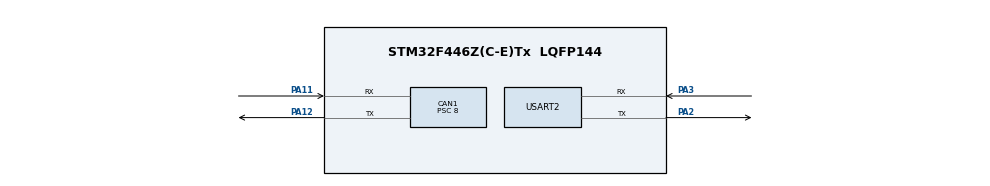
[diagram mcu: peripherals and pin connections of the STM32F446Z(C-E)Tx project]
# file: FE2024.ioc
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CAN1.BS1=CAN_BS1_2TQ
CAN1.CalculateBaudRate=500000
CAN1.CalculateTimeBit=2000
CAN1.CalculateTimeQuantum=500.0
CAN1.Prescaler=8
Mcu.Family=STM32F4
Mcu.Name=STM32F446Z(C-E)Tx
Mcu.Package=LQFP144
NVIC.PriorityGroup=NVIC_PRIORITYGROUP_4
NVIC.TIM6_DAC_IRQn=true\:15\:0\:false\:false\:true\:false\:true\:true
NVIC.TimeBase=TIM6_DAC_IRQn
NVIC.TimeBaseIP=TIM6
PA11.Mode=CAN_Activate
PA11.Signal=CAN1_RX
PA12.Mode=CAN_Activate
PA12.Signal=CAN1_TX
PA13.Mode=Trace_Asynchronous_SW
PA13.Signal=SYS_JTMS-SWDIO
PA14.Mode=Trace_Asynchronous_SW
PA14.Signal=SYS_JTCK-SWCLK
PA2.Mode=Asynchronous
PA2.Signal=USART2_TX
PA3.Mode=Asynchronous
PA3.Signal=USART2_RX
PB3.Mode=Trace_Asynchronous_SW
PB3.Signal=SYS_JTDO-SWO
PC14-OSC32_IN.Mode=LSE-External-Oscillator
PC14-OSC32_IN.Signal=RCC_OSC32_IN
PC15-OSC32_OUT.Mode=LSE-External-Oscillator
PC15-OSC32_OUT.Signal=RCC_OSC32_OUT
ProjectManager.HeapSize=0x200
ProjectManager.StackSize=0x400
ProjectManager.TargetToolchain=STM32CubeIDE
RCC.CortexFreq_Value=16000000
RCC.USBFreq_Value=96000000
RCC.VCOOutputFreq_Value=192000000
USART2.VirtualMode=VM_ASYNC
VP_SYS_VS_tim6.Mode=TIM6
board=custom

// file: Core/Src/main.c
/* USER CODE BEGIN Header */
/**
  ******************************************************************************
  * @file           : main.c
  * @brief          : Main program body
  ******************************************************************************
  * @attention
  *
  * Copyright (c) 2024 STMicroelectronics.
  * All rights reserved.
  *
  * This software is licensed under terms that can be found in the LICENSE file
  * in the root directory of this software component.
  * If no LICENSE file comes with this software, it is provided AS-IS.
  *
  ******************************************************************************
  */
/* USER CODE END Header */
#include "main.h"

CAN_HandleTypeDef hcan1;

UART_HandleTypeDef huart2;

void SystemClock_Config(void);
static void MX_GPIO_Init(void);
static void MX_CAN1_Init(void);
static void MX_USART2_UART_Init(void);

/* USER CODE BEGIN 0 */
CAN_TxHeaderTypeDef TxHeader;
CAN_RxHeaderTypeDef RxHeader;

uint8_t TxData[8];
uint8_t RxData[8];

uint32_t TxMailbox;

int datacheck = 0;

void HAL_GPIO_EXTI_Callback(uint16_t GPIO_Pin)
{
	/*
	if (GPIO_Pin == GPIO_PIN_13)
	{
		TxData[0] = 100;   // ms Delay
		TxData[1] = 40;    // loop rep

		HAL_CAN_AddTxMessage(&hcan1, &TxHeader, TxData, &TxMailbox);
	}
	*/
}

void HAL_CAN_RxFifo0MsgPendingCallback(CAN_HandleTypeDef *hcan)
{
	HAL_CAN_GetRxMessage(hcan, CAN_RX_FIFO0, &RxHeader, RxData);
	if (RxHeader.DLC == 2)
	{
		datacheck = 1;
	}
}

int _write(int le, char *ptr, int len)

{

int DataIdx;

for(DataIdx = 0; DataIdx < len; DataIdx++)

{

ITM_SendChar(*ptr++);

}

return len;

}

/* USER CODE END 0 */

int main(void)
{

  /* MCU Configuration--------------------------------------------------------*/

  /* Reset of all peripherals, Initializes the Flash interface and the Systick. */
  HAL_Init();

  /* Configure the system clock */
  SystemClock_Config();

  /* Initialize all configured peripherals */
  MX_GPIO_Init();
  MX_CAN1_Init();
  MX_USART2_UART_Init();
  /* USER CODE BEGIN 2 */
  HAL_CAN_Start(&hcan1);

    // Activate the notification
    HAL_CAN_ActivateNotification(&hcan1, CAN_IT_RX_FIFO0_MSG_PENDING);
  /* USER CODE END 2 */

  /* Infinite loop */
  while (1)
  {
	  printf("Hello World \n");
	  HAL_Delay(1000);

	  if(datacheck == 1){
		  for(int i=0; i<RxData[1];i++){
			  printf("0x%x \n", RxData[i]);
		  }

	  }
  }
}

void SystemClock_Config(void)
{
  RCC_OscInitTypeDef RCC_OscInitStruct = {0};
  RCC_ClkInitTypeDef RCC_ClkInitStruct = {0};

  /** Configure the main internal regulator output voltage
  */
  __HAL_RCC_PWR_CLK_ENABLE();
  __HAL_PWR_VOLTAGESCALING_CONFIG(PWR_REGULATOR_VOLTAGE_SCALE3);

  /** Initializes the RCC Oscillators according to the specified parameters
  * in the RCC_OscInitTypeDef structure.
  */
  RCC_OscInitStruct.OscillatorType = RCC_OSCILLATORTYPE_HSI;
  RCC_OscInitStruct.HSIState = RCC_HSI_ON;
  RCC_OscInitStruct.HSICalibrationValue = RCC_HSICALIBRATION_DEFAULT;
  RCC_OscInitStruct.PLL.PLLState = RCC_PLL_NONE;
  if (HAL_RCC_OscConfig(&RCC_OscInitStruct) != HAL_OK)
  {
    Error_Handler();
  }

  /** Initializes the CPU, AHB and APB buses clocks
  */
  RCC_ClkInitStruct.ClockType = RCC_CLOCKTYPE_HCLK|RCC_CLOCKTYPE_SYSCLK
                              |RCC_CLOCKTYPE_PCLK1|RCC_CLOCKTYPE_PCLK2;
  RCC_ClkInitStruct.SYSCLKSource = RCC_SYSCLKSOURCE_HSI;
  RCC_ClkInitStruct.AHBCLKDivider = RCC_SYSCLK_DIV1;
  RCC_ClkInitStruct.APB1CLKDivider = RCC_HCLK_DIV1;
  RCC_ClkInitStruct.APB2CLKDivider = RCC_HCLK_DIV1;

  if (HAL_RCC_ClockConfig(&RCC_ClkInitStruct, FLASH_LATENCY_0) != HAL_OK)
  {
    Error_Handler();
  }
}

static void MX_CAN1_Init(void)
{

  hcan1.Instance = CAN1;
  hcan1.Init.Prescaler = 8;
  hcan1.Init.Mode = CAN_MODE_NORMAL;
  hcan1.Init.SyncJumpWidth = CAN_SJW_1TQ;
  hcan1.Init.TimeSeg1 = CAN_BS1_2TQ;
  hcan1.Init.TimeSeg2 = CAN_BS2_1TQ;
  hcan1.Init.TimeTriggeredMode = DISABLE;
  hcan1.Init.AutoBusOff = DISABLE;
  hcan1.Init.AutoWakeUp = DISABLE;
  hcan1.Init.AutoRetransmission = DISABLE;
  hcan1.Init.ReceiveFifoLocked = DISABLE;
  hcan1.Init.TransmitFifoPriority = DISABLE;
  if (HAL_CAN_Init(&hcan1) != HAL_OK)
  {
    Error_Handler();
  }
  /* USER CODE BEGIN CAN1_Init 2 */
  CAN_FilterTypeDef canfilterconfig;

    canfilterconfig.FilterActivation = CAN_FILTER_ENABLE;
    canfilterconfig.FilterBank = 18;  // which filter bank to use from the assigned ones
    canfilterconfig.FilterFIFOAssignment = CAN_FILTER_FIFO0;
    canfilterconfig.FilterIdHigh = 0x000;
    canfilterconfig.FilterIdLow = 0x000;
    canfilterconfig.FilterMaskIdHigh = 0x000;
    canfilterconfig.FilterMaskIdLow = 0x0000;
    canfilterconfig.FilterMode = CAN_FILTERMODE_IDMASK;
    canfilterconfig.FilterScale = CAN_FILTERSCALE_32BIT;
    canfilterconfig.SlaveStartFilterBank = 20;  // how many filters to assign to the CAN1 (master can)

    HAL_CAN_ConfigFilter(&hcan1, &canfilterconfig);

  /* USER CODE END CAN1_Init 2 */

}

static void MX_USART2_UART_Init(void)
{

  huart2.Instance = USART2;
  huart2.Init.BaudRate = 115200;
  huart2.Init.WordLength = UART_WORDLENGTH_8B;
  huart2.Init.StopBits = UART_STOPBITS_1;
  huart2.Init.Parity = UART_PARITY_NONE;
  huart2.Init.Mode = UART_MODE_TX_RX;
  huart2.Init.HwFlowCtl = UART_HWCONTROL_NONE;
  huart2.Init.OverSampling = UART_OVERSAMPLING_16;
  if (HAL_UART_Init(&huart2) != HAL_OK)
  {
    Error_Handler();
  }

}

static void MX_GPIO_Init(void)
{

  /* GPIO Ports Clock Enable */
  __HAL_RCC_GPIOC_CLK_ENABLE();
  __HAL_RCC_GPIOA_CLK_ENABLE();
  __HAL_RCC_GPIOB_CLK_ENABLE();

}

void HAL_TIM_PeriodElapsedCallback(TIM_HandleTypeDef *htim)
{
  if (htim->Instance == TIM6) {
    HAL_IncTick();
  }
}

void Error_Handler(void)
{
  __disable_irq();
  while (1)
  {
  }
}
